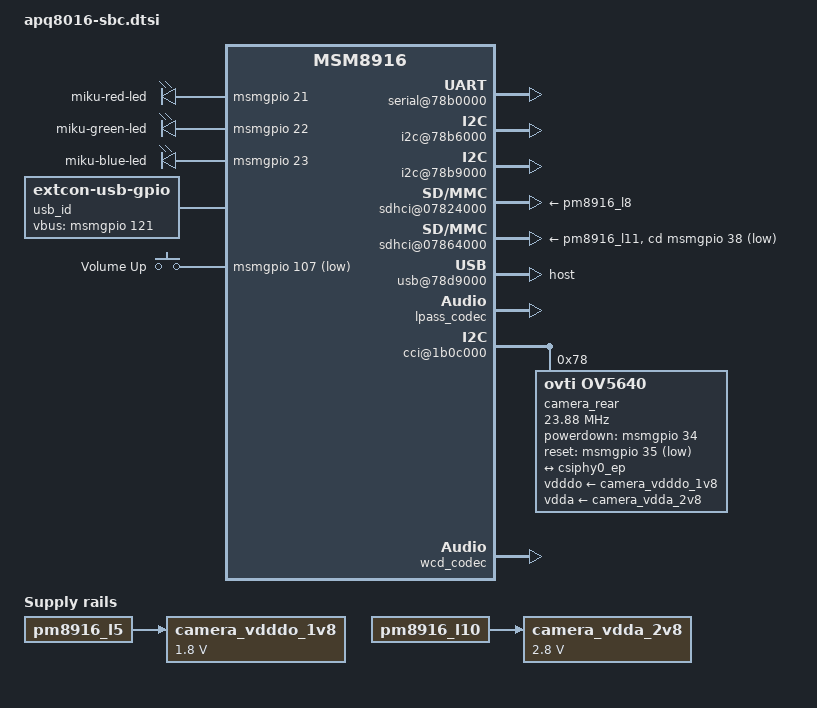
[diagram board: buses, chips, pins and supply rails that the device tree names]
/*
 * Copyright (c) 2015, The Linux Foundation. All rights reserved.
 *
 * This program is free software; you can redistribute it and/or modify
 * it under the terms of the GNU General Public License version 2 and
 * only version 2 as published by the Free Software Foundation.
 *
 * This program is distributed in the hope that it will be useful,
 * but WITHOUT ANY WARRANTY; without even the implied warranty of
 * MERCHANTABILITY or FITNESS FOR A PARTICULAR PURPOSE.  See the
 * GNU General Public License for more details.
 */

#include "msm8916.dtsi"
#include "pm8916.dtsi"
#include "apq8016-sbc-soc-pins.dtsi"
#include "apq8016-sbc-pmic-pins.dtsi"
#include <dt-bindings/gpio/gpio.h>
#include <dt-bindings/input/input.h>
#include <dt-bindings/sound/apq8016-lpass.h>

/ {
	aliases {
		serial0 = &blsp1_uart2;
		serial1 = &blsp1_uart1;
		usid0 = &pm8916_0;
		i2c0	= &blsp_i2c2;
		i2c1	= &blsp_i2c5;
	};

	chosen {
		stdout-path = "serial0";
	};

	reserved-memory {
		ramoops@bff00000{
			compatible = "ramoops";
			reg = <0x0 0xbff00000 0x0 0x100000>;

			record-size = <0x20000>;
			console-size = <0x20000>;
			ftrace-size = <0x20000>;
		};
	};

	soc {
		dma@7884000 {
			status = "okay";
		};

		serial@78af000 {
			label = "LS-UART0";
			status = "disabled";
			pinctrl-names = "default", "sleep";
			pinctrl-0 = <&blsp1_uart1_default>;
			pinctrl-1 = <&blsp1_uart1_sleep>;
		};

		serial@78b0000 {
			label = "LS-UART1";
			status = "okay";
			pinctrl-names = "default", "sleep";
			pinctrl-0 = <&blsp1_uart2_default>;
			pinctrl-1 = <&blsp1_uart2_sleep>;
		};

		i2c@78b6000 {
		/* On Low speed expansion */
			label = "LS-I2C0";
			status = "okay";
		};


		i2c@78b9000 {
		/* On Low speed expansion */
			label = "LS-I2C1";
			status = "okay";
		};

		leds {
			pinctrl-names = "default";
			pinctrl-0 = <&msmgpio_leds>,
				    <&pm8916_gpios_leds>,
				    <&pm8916_mpps_leds>;

			compatible = "gpio-leds";

			led@1 {
				label = "miku-red-led";
				gpios = <&msmgpio 21 GPIO_ACTIVE_HIGH>;
				linux,default-trigger = "none";
				default-state = "on";
			};

			led@2 {
				label = "miku-green-led";
				gpios = <&msmgpio 22 GPIO_ACTIVE_HIGH>;
				linux,default-trigger = "none";
				default-state = "off";
			};

			led@3 {
				label = "miku-blue-led";
				gpios = <&msmgpio 23 GPIO_ACTIVE_HIGH>;
				linux,default-trigger = "none";
				default-state = "off";
			};
		};


		sdhci@07824000 {
			vmmc-supply = <&pm8916_l8>;
			vqmmc-supply = <&pm8916_l5>;

			pinctrl-names = "default", "sleep";
			pinctrl-0 = <&sdc1_clk_on &sdc1_cmd_on &sdc1_data_on>;
			pinctrl-1 = <&sdc1_clk_off &sdc1_cmd_off &sdc1_data_off>;
			status = "okay";
		};

		sdhci@07864000 {
			vmmc-supply = <&pm8916_l11>;
			vqmmc-supply = <&pm8916_l12>;

			pinctrl-names = "default", "sleep";
			pinctrl-0 = <&sdc2_clk_on &sdc2_cmd_on &sdc2_data_on &sdc2_cd_on>;
			pinctrl-1 = <&sdc2_clk_off &sdc2_cmd_off &sdc2_data_off &sdc2_cd_off>;

			cd-gpios = <&msmgpio 38 0x1>;
			status = "okay";
		};

		usb@78d9000 {
			extcon = <&usb_id>;
			status = "okay";
			adp-disable;
			hnp-disable;
			srp-disable;
			dr_mode = "host";
			pinctrl-names = "default";
			pinctrl-0 = <&usb_sw_sel_pm>;
			ulpi {
				phy {
					v1p8-supply = <&pm8916_l7>;
					v3p3-supply = <&pm8916_l13>;
					extcon = <&usb_id>;
				};
			};
		};

		lpass@07708000 {
			status = "okay";
		};

		mdss@1a00000 {
			status = "okay";

			mdp@1a01000 {
				status = "okay";
			};

			dsi@1a98000 {
				status = "disabled";
			};

			dsi-phy@1a98300 {
				status = "okay";

				vddio-supply = <&pm8916_l6>;
			};
		};

		lpass_codec: codec{
			status = "okay";
		};

		/*
		Internal Codec
			playback - Primary MI2S
			capture - Ter MI2S

		External Primary:
			playback - secondary MI2S
			capture - Quat MI2S

		External Secondary:
			playback - Quat MI2S
			capture - Quat MI2S

		*/

                sound: sound {
                        compatible = "qcom,apq8016-sbc-sndcard";
                        reg = <0x07702000 0x4>, <0x07702004 0x4>;
                        reg-names = "mic-iomux", "spkr-iomux";

                        status = "okay";
                        pinctrl-0 = <&cdc_pdm_lines_act &ext_sec_tlmm_lines_act &ext_mclk_tlmm_lines_act>;
                        pinctrl-1 = <&cdc_pdm_lines_sus &ext_sec_tlmm_lines_sus &ext_mclk_tlmm_lines_sus>;
                        pinctrl-names = "default", "sleep";
                        qcom,model = "DB410c";
                        qcom,audio-routing =
                                "AMIC1", "MIC BIAS External1",
                                "AMIC3", "MIC BIAS Internal1";

                        internal-codec-playback-dai-link@0 {            /* I2S - Internal codec */
                                link-name = "WCD";
                                cpu { /* PRIMARY */
                                        sound-dai = <&lpass MI2S_PRIMARY>;
                                };
                                codec {
                                        sound-dai = <&lpass_codec 0>, <&wcd_codec 0>;
                                };
                        };

                        internal-codec-capture-dai-link@0 {             /* I2S - Internal codec */
                                link-name = "WCD-Capture";
                                cpu { /* PRIMARY */
                                        sound-dai = <&lpass MI2S_TERTIARY>;
                                };
                                codec {
                                        sound-dai = <&lpass_codec 1>, <&wcd_codec 1>;
                                };
                        };
                };

		wcnss@a21b000 {
			status = "okay";
		};

		camera_vdddo_1v8: fixedregulator@0 {
			compatible = "regulator-fixed";
			regulator-name = "camera_vdddo";
			regulator-min-microvolt = <1800000>;
			regulator-max-microvolt = <1800000>;
			vin-supply = <&pm8916_l5>;
			regulator-always-on;
		};

		camera_vdda_2v8: fixedregulator@1 {
			compatible = "regulator-fixed";
			regulator-name = "camera_vdda";
			regulator-min-microvolt = <2800000>;
			regulator-max-microvolt = <2800000>;
			vin-supply = <&pm8916_l10>;
			regulator-always-on;
		};

		cci@1b0c000 {
			status = "ok";

			camera_rear@78 {
				compatible = "ovti,ov5640";
				reg = <0x78>;
				powerdown-gpios = <&msmgpio 34 GPIO_ACTIVE_HIGH>;
				reset-gpios = <&msmgpio 35 GPIO_ACTIVE_LOW>;
				pinctrl-names = "default";
				pinctrl-0 = <&camera_rear_default>;

				clocks = <&gcc GCC_CAMSS_MCLK0_CLK>;
				clock-names = "xclk";
				clock-frequency = <23880000>;

				vdddo-supply = <&camera_vdddo_1v8>;
				vdda-supply = <&camera_vdda_2v8>;

				port {
					ov5640_ep: endpoint {
						clock-lanes = <1>;
						data-lanes = <0 2>;
						remote-endpoint = <&csiphy0_ep>;
					};
				};
			};
		};

		camss@1b00000 {
			status = "ok";
			ports {
				#address-cells = <1>;
				#size-cells = <0>;
				port@0 {
					reg = <0>;
					csiphy0_ep: endpoint {
						clock-lanes = <1>;
						data-lanes = <0 2>;
						remote-endpoint = <&ov5640_ep>;
					};
				};
			};
		};
	};


	usb_id: usb-id {
		compatible = "linux,extcon-usb-gpio";
		vbus-gpio = <&msmgpio 121 GPIO_ACTIVE_HIGH>;
		pinctrl-names = "default";
		pinctrl-0 = <&usb_id_default>;
	};

	gpio_keys {
		compatible = "gpio-keys";
		#address-cells = <1>;
		#size-cells = <0>;
		autorepeat;

		pinctrl-names = "default";
		pinctrl-0 = <&msm_key_volp_n_default>;

		button@0 {
			label = "Volume Up";
			linux,code = <KEY_VOLUMEUP>;
			gpios = <&msmgpio 107 GPIO_ACTIVE_LOW>;
		};
	};
};

&wcd_codec {
        status = "okay";
        clocks = <&gcc GCC_CODEC_DIGCODEC_CLK>;
        clock-names = "mclk";
};

&smd_rpm_regulators {
	vdd_l1_l2_l3-supply = <&pm8916_s3>;
	vdd_l5-supply = <&pm8916_s3>;
	vdd_l4_l5_l6-supply = <&pm8916_s4>;
	vdd_l7-supply = <&pm8916_s4>;

	s1 {
		regulator-min-microvolt = <375000>;
		regulator-max-microvolt = <1562000>;
	};

	s3 {
		regulator-min-microvolt = <375000>;
		regulator-max-microvolt = <1562000>;
	};

	s4 {
		regulator-min-microvolt = <1800000>;
		regulator-max-microvolt = <1800000>;

		regulator-always-on;
		regulator-boot-on;
	};

	l1 {
		regulator-min-microvolt = <375000>;
		regulator-max-microvolt = <1525000>;
	};

	l2 {
		regulator-min-microvolt = <1200000>;
		regulator-max-microvolt = <1200000>;
	};

	l3 {
		regulator-min-microvolt = <375000>;
		regulator-max-microvolt = <1525000>;
	};

	l4 {
		regulator-min-microvolt = <1750000>;
		regulator-max-microvolt = <3337000>;
	};

	l5 {
		regulator-min-microvolt = <1800000>;
		regulator-max-microvolt = <1800000>;
		regulator-always-on;
		regulator-boot-on;
	};

	l6 {
		regulator-min-microvolt = <1800000>;
		regulator-max-microvolt = <1800000>;
		regulator-always-on;
		regulator-boot-on;

	};

	l7 {
		regulator-min-microvolt = <1750000>;
		regulator-max-microvolt = <3337000>;
	};

	l8 {
		regulator-min-microvolt = <1750000>;
		regulator-max-microvolt = <3337000>;
	};

	l9 {
		regulator-min-microvolt = <1750000>;
		regulator-max-microvolt = <3337000>;
	};

	l10 {
		regulator-min-microvolt = <2800000>;
		regulator-max-microvolt = <2800000>;
		regulator-always-on;
		regulator-boot-on;

	};

	l11 {
		regulator-min-microvolt = <1800000>;
		regulator-max-microvolt = <3000000>;
		regulator-initial-mode = <1>;

		/*regulator-allow-set-load;
		regulator-system-load = <250000>; */
	};

	l12 {
		regulator-min-microvolt = <1750000>;
		regulator-max-microvolt = <3337000>;
	};

	l13 {
		regulator-min-microvolt = <1750000>;
		regulator-max-microvolt = <3337000>;
	};

	l14 {
		regulator-min-microvolt = <1750000>;
		regulator-max-microvolt = <3337000>;
	};

	/**
	 * 1.8v required on LS expansion
	 * for mezzanine boards
	 */
	l15 {
		regulator-min-microvolt = <1750000>;
		regulator-max-microvolt = <3337000>;
		regulator-always-on;
	};

	l16 {
		regulator-min-microvolt = <1750000>;
		regulator-max-microvolt = <3337000>;
	};

	l17 {
		regulator-min-microvolt = <3300000>;
		regulator-max-microvolt = <3300000>;
	};

	l18 {
		regulator-min-microvolt = <1750000>;
		regulator-max-microvolt = <3337000>;
	};
};

